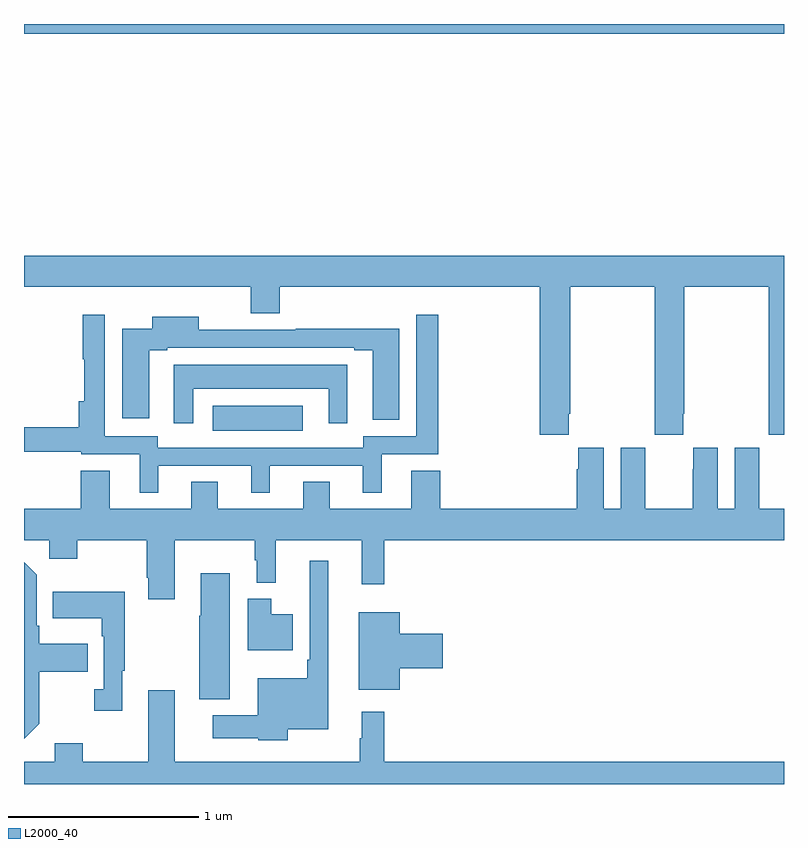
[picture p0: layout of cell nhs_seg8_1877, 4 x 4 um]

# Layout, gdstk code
import gdstk
lib = gdstk.Library(unit=1e-6, precision=1e-09)
def R(c, l, rs):  # rectangles x0, y0, x1, y1
    for r in rs: c.add(gdstk.rectangle(r[:2], r[2:], *l))
def P(c, l, *ps):  # polygons
    for p in ps: c.add(gdstk.Polygon(p, *l))
L2000_40 = (2000, 40)

nhs_seg8_1877 = lib.new_cell('nhs_seg8_1877')
R(nhs_seg8_1877, L2000_40, [(231.993,1099.76,232.468,1099.891), (231,1101.848,235,1101.9)])
P(nhs_seg8_1877, L2000_40, [(233.867,1099.849),(233.874,1099.849),(233.874,1100.516),(234.319,1100.516),(234.319,1099.849),(234.321,1099.849),(234.321,1099.737),(234.471,1099.737),(234.471,1099.849),(234.474,1099.849),(234.474,1100.516),(234.919,1100.516),(234.919,1099.849),(234.921,1099.849),(234.921,1099.737),(235,1099.737),(235,1100.68),(231,1100.68),(231,1100.516),(232.193,1100.516),(232.193,1100.377),(232.346,1100.377),(232.346,1100.516),(233.714,1100.516),(233.714,1099.737),(233.867,1099.737)],
  [(231.706,1099.575),(232.196,1099.575),(232.196,1099.434),(232.294,1099.434),(232.294,1099.575),(232.784,1099.575),(232.784,1099.434),(232.882,1099.434),(232.882,1099.635),(233.18,1099.635),(233.18,1100.371),(233.064,1100.371),(233.064,1099.731),(232.785,1099.731),(232.785,1099.671),(231.705,1099.671),(231.705,1099.731),(231.426,1099.731),(231.426,1100.371),(231.31,1100.371),(231.31,1100.135),(231.318,1100.135),(231.318,1099.915),(231.289,1099.915),(231.289,1099.778),(231,1099.778),(231,1099.65),(231.3,1099.65),(231.3,1099.635),(231.608,1099.635),(231.608,1099.434),(231.706,1099.434)],
  [(232.975,1100.295),(232.429,1100.295),(232.429,1100.292),(231.919,1100.292),(231.919,1100.359),(231.674,1100.359),(231.674,1100.295),(231.518,1100.295),(231.518,1099.824),(231.658,1099.824),(231.658,1100.184),(231.754,1100.184),(231.754,1100.196),(232.739,1100.196),(232.739,1100.184),(232.835,1100.184),(232.835,1099.818),(232.975,1099.818)],
  [(231.892,1099.979),(232.604,1099.979),(232.604,1099.8),(232.702,1099.8),(232.702,1100.107),(231.788,1100.107),(231.788,1099.8),(231.892,1099.8)],
  [(231.793,1099.184),(232.215,1099.184),(232.215,1099.077),(232.226,1099.077),(232.226,1098.959),(232.325,1098.959),(232.325,1099.184),(232.778,1099.184),(232.778,1098.951),(232.895,1098.951),(232.895,1099.184),(235,1099.184),(235,1099.348),(234.871,1099.348),(234.871,1099.556),(234.87,1099.556),(234.87,1099.669),(234.74,1099.669),(234.74,1099.348),(234.652,1099.348),(234.652,1099.669),(234.522,1099.669),(234.522,1099.556),(234.521,1099.556),(234.521,1099.348),(234.271,1099.348),(234.271,1099.556),(234.27,1099.556),(234.27,1099.669),(234.14,1099.669),(234.14,1099.348),(234.052,1099.348),(234.052,1099.669),(233.918,1099.669),(233.918,1099.556),(233.909,1099.556),(233.909,1099.348),(233.192,1099.348),(233.192,1099.55),(233.039,1099.55),(233.039,1099.348),(232.609,1099.348),(232.609,1099.49),(232.469,1099.49),(232.469,1099.348),(232.021,1099.348),(232.021,1099.49),(231.881,1099.49),(231.881,1099.348),(231.451,1099.348),(231.451,1099.55),(231.299,1099.55),(231.299,1099.348),(231,1099.348),(231,1099.184),(231.132,1099.184),(231.132,1099.085),(231.279,1099.085),(231.279,1099.184),(231.646,1099.184),(231.646,1098.985),(231.653,1098.985),(231.653,1098.873),(231.793,1098.873)],
  [(232.389,1098.188),(232.6,1098.188),(232.6,1099.075),(232.503,1099.075),(232.503,1098.553),(232.491,1098.553),(232.491,1098.457),(232.229,1098.457),(232.229,1098.262),(231.993,1098.262),(231.993,1098.14),(232.233,1098.14),(232.233,1098.131),(232.389,1098.131)],
  [(231.079,1098.217),(231.079,1098.49),(231.335,1098.49),(231.335,1098.637),(231.079,1098.637),(231.079,1098.733),(231.066,1098.733),(231.066,1099.002),(231,1099.068),(231,1098.138)],
  [(232.084,1099.009),(231.929,1099.009),(231.929,1098.785),(231.922,1098.785),(231.922,1098.347),(232.084,1098.347)],
  [(231.517,1098.497),(231.529,1098.497),(231.529,1098.913),(231.151,1098.913),(231.151,1098.773),(231.408,1098.773),(231.408,1098.677),(231.42,1098.677),(231.42,1098.398),(231.369,1098.398),(231.369,1098.285),(231.517,1098.285)],
  [(232.414,1098.793),(232.3,1098.793),(232.3,1098.874),(232.178,1098.874),(232.178,1098.605),(232.414,1098.605)],
  [(232.978,1098.509),(233.203,1098.509),(233.203,1098.692),(232.978,1098.692),(232.978,1098.805),(232.763,1098.805),(232.763,1098.395),(232.978,1098.395)],
  [(235,1098.016),(232.895,1098.016),(232.895,1098.28),(232.778,1098.28),(232.778,1098.14),(232.767,1098.14),(232.767,1098.016),(231.793,1098.016),(231.793,1098.394),(231.653,1098.394),(231.653,1098.016),(231.309,1098.016),(231.309,1098.115),(231.161,1098.115),(231.161,1098.016),(231,1098.016),(231,1097.9),(235,1097.9)])

lib.write_gds('nhs_seg8_1877.gds')
